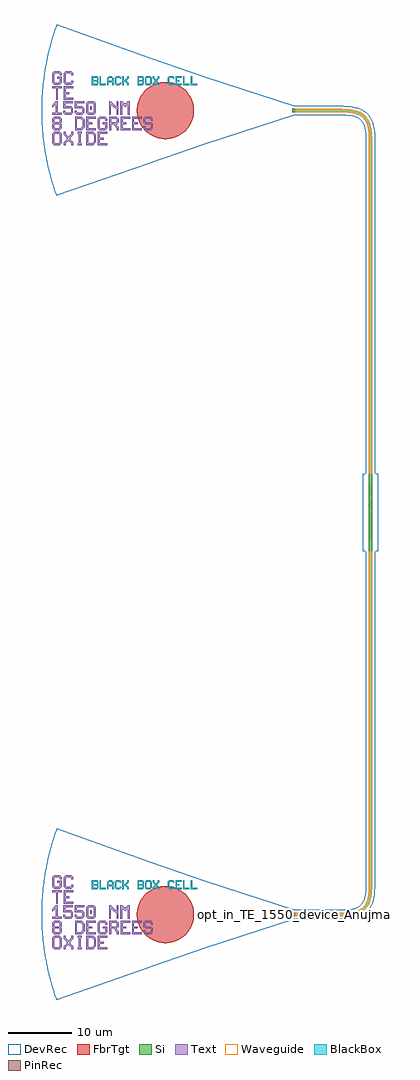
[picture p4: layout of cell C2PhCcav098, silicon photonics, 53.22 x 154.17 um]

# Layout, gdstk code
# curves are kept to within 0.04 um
from math import pi, radians
import gdstk
lib = gdstk.Library(unit=1e-6, precision=1e-09)
def R(c, l, rs):  # rectangles x0, y0, x1, y1
    for r in rs: c.add(gdstk.rectangle(r[:2], r[2:], *l))
def P(c, l, *ps):  # polygons
    for p in ps: c.add(gdstk.Polygon(p, *l))
Si = (1, 0)
PinRec = (1, 10)
Waveguide = (1, 99)
Text = (10, 0)
DevRec = (68, 0)
FbrTgt = (81, 0)
BlackBox = (998, 0)

nanobeam_cav_r110nm_ac34 = lib.new_cell('nanobeam_cav_r110nm_ac345nm_am380nm_m2_s098')
P(nanobeam_cav_r110nm_ac34, Si, [(-6.13,-0.25),(-6.13,0.11),(-4.02,0.11),(-4.098,0.078),(-4.13,0.011),(-4.098,-0.078),(-4.02,-0.11),(-3.942,-0.078),(-3.91,0),(-3.942,0.078),(-4.02,0.11),(-3.648,0.11),(-3.726,0.078),(-3.758,0),(-3.726,-0.078),(-3.648,-0.11),(-3.57,-0.078),(-3.538,-0.011),(-3.57,0.078),(-3.648,0.11),(-3.282,0.11),(-3.36,0.078),(-3.392,0),(-3.36,-0.078),(-3.282,-0.11),(-3.204,-0.078),(-3.172,-0.011),(-3.204,0.078),(-3.282,0.11),(-2.922,0.11),(-3,0.078),(-3.032,0),(-3,-0.078),(-2.922,-0.11),(-2.844,-0.078),(-2.812,-0.011),(-2.844,0.078),(-2.922,0.11),(-2.567,0.11),(-2.645,0.078),(-2.677,0),(-2.645,-0.078),(-2.567,-0.11),(-2.489,-0.078),(-2.457,-0.011),(-2.489,0.078),(-2.567,0.11),(-2.217,0.11),(-2.294,0.078),(-2.327,0),(-2.302,-0.07),(-2.217,-0.11),(-2.139,-0.078),(-2.107,-0.011),(-2.131,0.07),(-2.217,0.11),(-1.87,0.11),(-1.948,0.078),(-1.98,0),(-1.948,-0.078),(-1.87,-0.11),(-1.792,-0.078),(-1.76,-0.011),(-1.792,0.078),(-1.87,0.11),(-1.526,0.11),(-1.604,0.078),(-1.636,0.011),(-1.604,-0.078),(-1.526,-0.11),(-1.448,-0.078),(-1.416,0),(-1.448,0.078),(-1.526,0.11),(-1.185,0.11),(-1.263,0.078),(-1.295,0.011),(-1.263,-0.078),(-1.185,-0.11),(-1.107,-0.078),(-1.075,0),(-1.107,0.078),(-1.185,0.11),(-0.846,0.11),(-0.923,0.078),(-0.956,0),(-0.931,-0.07),(-0.846,-0.11),(-0.768,-0.078),(-0.736,-0.011),(-0.768,0.078),(-0.846,0.11),(-0.507,0.11),(-0.585,0.078),(-0.617,0.011),(-0.585,-0.078),(-0.507,-0.11),(-0.429,-0.078),(-0.397,0),(-0.429,0.078),(-0.507,0.11),(-0.169,0.11),(-0.247,0.078),(-0.279,0.011),(-0.247,-0.078),(-0.169,-0.11),(-0.091,-0.078),(-0.059,0),(-0.091,0.078),(-0.169,0.11),(0.169,0.11),(0.091,0.078),(0.059,0),(0.091,-0.078),(0.169,-0.11),(0.247,-0.078),(0.279,-0.011),(0.247,0.078),(0.169,0.11),(0.507,0.11),(0.429,0.078),(0.397,0),(0.429,-0.078),(0.507,-0.11),(0.585,-0.078),(0.617,-0.011),(0.585,0.078),(0.507,0.11),(0.846,0.11),(0.768,0.078),(0.736,0.011),(0.768,-0.078),(0.846,-0.11),(0.923,-0.078),(0.956,0),(0.931,0.07),(0.846,0.11),(1.185,0.11),(1.107,0.078),(1.075,0),(1.107,-0.078),(1.185,-0.11),(1.263,-0.078),(1.295,-0.011),(1.263,0.078),(1.185,0.11),(1.526,0.11),(1.448,0.078),(1.416,0),(1.448,-0.078),(1.526,-0.11),(1.604,-0.078),(1.636,-0.011),(1.604,0.078),(1.526,0.11),(1.87,0.11),(1.792,0.078),(1.76,0.011),(1.792,-0.078),(1.87,-0.11),(1.948,-0.078),(1.98,0),(1.948,0.078),(1.87,0.11),(2.217,0.11),(2.139,0.078),(2.107,0.011),(2.131,-0.07),(2.217,-0.11),(2.294,-0.078),(2.327,0),(2.302,0.07),(2.217,0.11),(2.567,0.11),(2.489,0.078),(2.457,0.011),(2.489,-0.078),(2.567,-0.11),(2.645,-0.078),(2.677,0),(2.645,0.078),(2.567,0.11),(2.922,0.11),(2.844,0.078),(2.812,0.011),(2.844,-0.078),(2.922,-0.11),(3,-0.078),(3.032,0),(3,0.078),(2.922,0.11),(3.282,0.11),(3.204,0.078),(3.172,0.011),(3.19,-0.061),(3.26,-0.108),(3.352,-0.085),(3.39,-0.021),(3.367,0.07),(3.282,0.11),(3.648,0.11),(3.57,0.078),(3.538,0.011),(3.556,-0.061),(3.626,-0.108),(3.718,-0.085),(3.756,-0.021),(3.733,0.07),(3.648,0.11),(4.02,0.11),(3.942,0.078),(3.911,0.011),(3.935,-0.07),(3.999,-0.108),(4.09,-0.085),(4.13,-0.011),(4.098,0.078),(4.02,0.11),(-6.13,0.11),(-6.13,0.25),(6.13,0.25),(6.13,-0.25)])
R(nanobeam_cav_r110nm_ac34, DevRec, [(-6.13,-1.25,6.13,1.25)])
nanobeam_cav_r110nm_ac34.add(gdstk.FlexPath([(-6.12,0),(-6.14,0)], 0.5, ends="flush", simple_path=True, layer=1, datatype=10))  # PinRec
nanobeam_cav_r110nm_ac34.add(gdstk.FlexPath([(6.12,0),(6.14,0)], 0.5, ends="flush", simple_path=True, layer=1, datatype=10))  # PinRec
nanobeam_cav_r110nm_ac34.add(gdstk.Label('opt1', (-6.13,0), layer=1, texttype=10))
nanobeam_cav_r110nm_ac34.add(gdstk.Label('opt2', (6.13,0), layer=1, texttype=10))
nanobeam_cav_r110nm_ac34.add(gdstk.Label('Lumerical_INTERCONNECT_library=Custom/SiEPIC_user', (0,0), layer=68, texttype=0))
nanobeam_cav_r110nm_ac34.add(gdstk.Label('Component=nanobeam_cav_r110nm_ac345nm_am380nm_m2_s098', (0,-0.5), layer=68, texttype=0))
nanobeam_cav_r110nm_ac34.add(gdstk.Label('Spice_param:r=0.110u holes=24', (0,-1), layer=68, texttype=0))

text = lib.new_cell('TEXT')
P(text, BlackBox, [(0,0),(0,1.4),(0.8,1.4),(1,1.2),(0.2,1.2),(0.2,0.8),(0.7,0.8),(0.8,0.9),(0.8,1.1),(0.7,1.2),(1,1.2),(1,0.8),(0.9,0.7),(1,0.6),(0.2,0.6),(0.2,0.2),(0.7,0.2),(0.8,0.3),(0.8,0.5),(0.7,0.6),(1,0.6),(1,0.2),(0.8,0)],
  [(1.2,0),(1.2,1.4),(1.4,1.4),(1.4,0.2),(2.2,0.2),(2.2,0)],
  [(2.4,0),(2.4,1.1),(2.7,1.4),(3.1,1.4),(3.3,1.2),(2.8,1.2),(2.6,1),(2.6,0.7),(3.2,0.7),(3.2,1),(3,1.2),(3.3,1.2),(3.4,1.1),(3.4,0),(3.2,0),(3.2,0.5),(2.6,0.5),(2.6,0)],
  [(3.8,0),(3.6,0.2),(3.6,1.2),(3.8,1.4),(4.4,1.4),(4.6,1.2),(4.6,1),(4.4,1),(4.4,1.1),(4.3,1.2),(3.9,1.2),(3.8,1.1),(3.8,0.3),(3.9,0.2),(4.3,0.2),(4.4,0.3),(4.4,0.4),(4.6,0.4),(4.6,0.2),(4.4,0)],
  [(4.8,0),(4.8,1.4),(5,1.4),(5,0.8),(5.2,0.8),(5.6,1.2),(5.6,1.4),(5.8,1.4),(5.8,1.1),(5.4,0.7),(5.8,0.3),(5.8,0),(5.6,0),(5.6,0.2),(5.2,0.6),(5,0.6),(5,0)],
  [(7.2,0),(7.2,1.4),(8,1.4),(8.2,1.2),(7.4,1.2),(7.4,0.8),(7.9,0.8),(8,0.9),(8,1.1),(7.9,1.2),(8.2,1.2),(8.2,0.8),(8.1,0.7),(8.2,0.6),(7.4,0.6),(7.4,0.2),(7.9,0.2),(8,0.3),(8,0.5),(7.9,0.6),(8.2,0.6),(8.2,0.2),(8,0)],
  [(8.6,0),(8.4,0.2),(8.4,1.2),(8.6,1.4),(9.2,1.4),(9.4,1.2),(9.4,0.7),(9.2,0.7),(9.2,1.1),(9.1,1.2),(8.7,1.2),(8.6,1.1),(8.6,0.3),(8.7,0.2),(9.1,0.2),(9.2,0.3),(9.2,0.7),(9.4,0.7),(9.4,0.2),(9.2,0)],
  [(9.6,0),(9.6,0.3),(9.9,0.6),(9.9,0.8),(9.6,1.1),(9.6,1.4),(9.8,1.4),(9.8,1.2),(10.1,0.9),(10.4,1.2),(10.4,1.4),(10.6,1.4),(10.6,1.1),(10.3,0.8),(10.3,0.6),(10.6,0.3),(10.6,0),(10.4,0),(10.4,0.2),(10.1,0.5),(9.8,0.2),(9.8,0)],
  [(12.2,0),(12,0.2),(12,1.2),(12.2,1.4),(12.8,1.4),(13,1.2),(13,1),(12.8,1),(12.8,1.1),(12.7,1.2),(12.3,1.2),(12.2,1.1),(12.2,0.3),(12.3,0.2),(12.7,0.2),(12.8,0.3),(12.8,0.4),(13,0.4),(13,0.2),(12.8,0)],
  [(13.2,0),(13.2,1.4),(14.2,1.4),(14.2,1.2),(13.4,1.2),(13.4,0.8),(13.8,0.8),(13.8,0.6),(13.4,0.6),(13.4,0.2),(14.2,0.2),(14.2,0)],
  [(14.4,0),(14.4,1.4),(14.6,1.4),(14.6,0.2),(15.4,0.2),(15.4,0)],
  [(15.6,0),(15.6,1.4),(15.8,1.4),(15.8,0.2),(16.6,0.2),(16.6,0)])

gc_te_1550_8degoxide_bb = lib.new_cell('GC_TE_1550_8degOxide_BB')
R(gc_te_1550_8degoxide_bb, Si, [(-0.4,-0.25,0,0.25)])
R(gc_te_1550_8degoxide_bb, Text, [(-32.313,0.092,-32.013,0.692)])
P(gc_te_1550_8degoxide_bb, Text, [(-37.67,1.71),(-37.67,3.51),(-38.27,3.51),(-38.27,3.81),(-36.77,3.81),(-36.77,3.51),(-37.37,3.51),(-37.37,1.71)],
  [(-37.97,-5.49),(-38.27,-5.19),(-38.27,-3.69),(-37.97,-3.39),(-37.07,-3.39),(-36.77,-3.69),(-36.77,-4.44),(-37.07,-4.44),(-37.07,-3.84),(-37.22,-3.69),(-37.82,-3.69),(-37.97,-3.84),(-37.97,-5.04),(-37.82,-5.19),(-37.22,-5.19),(-37.07,-5.04),(-37.07,-4.44),(-36.77,-4.44),(-36.77,-5.19),(-37.07,-5.49)],
  [(-31.07,-5.49),(-31.07,-3.39),(-29.57,-3.39),(-29.57,-3.69),(-30.77,-3.69),(-30.77,-4.29),(-30.17,-4.29),(-30.17,-4.59),(-30.77,-4.59),(-30.77,-5.19),(-29.57,-5.19),(-29.57,-5.49)],
  [(-32.87,-3.09),(-32.87,-0.99),(-31.37,-0.99),(-31.37,-1.29),(-32.57,-1.29),(-32.57,-1.89),(-31.97,-1.89),(-31.97,-2.19),(-32.57,-2.19),(-32.57,-2.79),(-31.37,-2.79),(-31.37,-3.09)],
  [(-27.47,-3.09),(-27.47,-0.99),(-25.97,-0.99),(-25.97,-1.29),(-27.17,-1.29),(-27.17,-1.89),(-26.57,-1.89),(-26.57,-2.19),(-27.17,-2.19),(-27.17,-2.79),(-25.97,-2.79),(-25.97,-3.09)],
  [(-25.67,-3.09),(-25.67,-0.99),(-24.17,-0.99),(-24.17,-1.29),(-25.37,-1.29),(-25.37,-1.89),(-24.77,-1.89),(-24.77,-2.19),(-25.37,-2.19),(-25.37,-2.79),(-24.17,-2.79),(-24.17,-3.09)],
  [(-36.47,1.71),(-36.47,3.81),(-34.97,3.81),(-34.97,3.51),(-36.17,3.51),(-36.17,2.91),(-35.57,2.91),(-35.57,2.61),(-36.17,2.61),(-36.17,2.01),(-34.97,2.01),(-34.97,1.71)],
  [(-29.313,-0.658),(-29.313,1.442),(-29.013,1.442),(-28.263,0.692),(-28.113,0.692),(-28.113,1.442),(-27.813,1.442),(-27.813,-0.658),(-28.113,-0.658),(-28.113,0.092),(-28.863,0.842),(-29.013,0.842),(-29.013,-0.658)],
  [(-34.22,-5.49),(-34.22,-5.19),(-34.07,-5.19),(-34.07,-3.69),(-34.22,-3.69),(-34.22,-3.39),(-33.62,-3.39),(-33.62,-3.69),(-33.77,-3.69),(-33.77,-5.19),(-33.62,-5.19),(-33.62,-5.49)],
  [(-36.17,4.11),(-36.47,4.41),(-36.47,5.91),(-36.17,6.21),(-35.27,6.21),(-34.97,5.91),(-34.97,5.61),(-35.27,5.61),(-35.27,5.76),(-35.42,5.91),(-36.02,5.91),(-36.17,5.76),(-36.17,4.56),(-36.02,4.41),(-35.42,4.41),(-35.27,4.56),(-35.27,4.71),(-34.97,4.71),(-34.97,4.41),(-35.27,4.11)],
  [(-27.513,-0.658),(-27.513,1.442),(-27.213,1.442),(-26.913,1.142),(-26.613,1.142),(-26.313,1.442),(-26.013,1.442),(-26.013,-0.658),(-26.313,-0.658),(-26.313,0.842),(-26.463,0.842),(-26.763,0.542),(-27.063,0.842),(-27.213,0.842),(-27.213,-0.658)],
  [(-32.613,-0.658),(-32.913,-0.358),(-32.913,1.142),(-32.613,1.442),(-31.713,1.442),(-31.413,1.142),(-32.463,1.142),(-32.613,0.992),(-32.613,-0.208),(-32.463,-0.358),(-31.863,-0.358),(-31.713,-0.208),(-31.713,0.992),(-31.863,1.142),(-31.413,1.142),(-31.413,-0.358),(-31.713,-0.658)],
  [(-32.87,-5.49),(-32.87,-3.39),(-31.82,-3.39),(-31.52,-3.69),(-32.57,-3.69),(-32.57,-5.19),(-31.97,-5.19),(-31.67,-4.89),(-31.67,-3.99),(-31.97,-3.69),(-31.52,-3.69),(-31.37,-3.84),(-31.37,-5.04),(-31.82,-5.49)],
  [(-34.67,-3.09),(-34.67,-0.99),(-33.62,-0.99),(-33.32,-1.29),(-34.37,-1.29),(-34.37,-2.79),(-33.77,-2.79),(-33.47,-2.49),(-33.47,-1.59),(-33.77,-1.29),(-33.32,-1.29),(-33.17,-1.44),(-33.17,-2.64),(-33.62,-3.09)],
  [(-23.57,-3.09),(-23.87,-2.79),(-23.87,-2.49),(-23.57,-2.49),(-23.57,-2.64),(-23.42,-2.79),(-22.82,-2.79),(-22.67,-2.64),(-22.67,-2.34),(-22.82,-2.19),(-23.57,-2.19),(-23.87,-1.89),(-23.87,-1.29),(-23.57,-0.99),(-22.67,-0.99),(-22.37,-1.29),(-22.37,-1.59),(-22.67,-1.59),(-22.67,-1.44),(-22.82,-1.29),(-23.42,-1.29),(-23.57,-1.44),(-23.57,-1.74),(-23.42,-1.89),(-22.67,-1.89),(-22.37,-2.19),(-22.37,-2.79),(-22.67,-3.09)],
  [(-36.213,-0.658),(-36.513,-0.358),(-36.513,-0.058),(-36.213,-0.058),(-36.213,-0.208),(-36.063,-0.358),(-35.463,-0.358),(-35.313,-0.208),(-35.313,0.242),(-35.463,0.392),(-36.513,0.392),(-36.513,1.442),(-35.013,1.442),(-35.013,1.142),(-36.213,1.142),(-36.213,0.692),(-35.313,0.692),(-35.013,0.392),(-35.013,-0.358),(-35.313,-0.658)],
  [(-34.413,-0.658),(-34.713,-0.358),(-34.713,-0.058),(-34.413,-0.058),(-34.413,-0.208),(-34.263,-0.358),(-33.663,-0.358),(-33.513,-0.208),(-33.513,0.242),(-33.663,0.392),(-34.713,0.392),(-34.713,1.442),(-33.213,1.442),(-33.213,1.142),(-34.413,1.142),(-34.413,0.692),(-33.513,0.692),(-33.213,0.392),(-33.213,-0.358),(-33.513,-0.658)],
  [(-37.97,-3.09),(-38.27,-2.79),(-38.27,-2.19),(-38.12,-2.04),(-38.27,-1.89),(-38.27,-1.29),(-37.97,-0.99),(-37.07,-0.99),(-36.77,-1.29),(-37.82,-1.29),(-37.97,-1.44),(-37.97,-1.74),(-37.82,-1.89),(-37.22,-1.89),(-37.07,-1.74),(-37.07,-1.44),(-37.22,-1.29),(-36.77,-1.29),(-36.77,-1.89),(-36.92,-2.04),(-36.77,-2.19),(-37.82,-2.19),(-37.97,-2.34),(-37.97,-2.64),(-37.82,-2.79),(-37.22,-2.79),(-37.07,-2.64),(-37.07,-2.34),(-37.22,-2.19),(-36.77,-2.19),(-36.77,-2.79),(-37.07,-3.09)],
  [(-38.313,-0.658),(-38.313,-0.358),(-37.713,-0.358),(-37.713,0.842),(-37.863,0.842),(-38.163,0.542),(-38.313,0.542),(-38.313,0.842),(-37.713,1.442),(-37.413,1.442),(-37.413,-0.358),(-36.813,-0.358),(-36.813,-0.658)],
  [(-36.47,-5.49),(-36.47,-5.04),(-36.02,-4.59),(-36.02,-4.29),(-36.47,-3.84),(-36.47,-3.39),(-36.17,-3.39),(-36.17,-3.69),(-35.72,-4.14),(-35.27,-3.69),(-35.27,-3.39),(-34.97,-3.39),(-34.97,-3.84),(-35.42,-4.29),(-35.42,-4.59),(-34.97,-5.04),(-34.97,-5.49),(-35.27,-5.49),(-35.27,-5.19),(-35.72,-4.74),(-36.17,-5.19),(-36.17,-5.49)],
  [(-30.77,-3.09),(-31.07,-2.79),(-31.07,-1.29),(-30.77,-0.99),(-29.87,-0.99),(-29.57,-1.29),(-29.57,-1.59),(-29.87,-1.59),(-29.87,-1.44),(-30.02,-1.29),(-30.62,-1.29),(-30.77,-1.44),(-30.77,-2.64),(-30.62,-2.79),(-30.02,-2.79),(-29.87,-2.64),(-29.87,-2.19),(-30.32,-2.19),(-30.32,-1.89),(-29.57,-1.89),(-29.57,-2.79),(-29.87,-3.09)],
  [(-37.97,4.11),(-38.27,4.41),(-38.27,5.91),(-37.97,6.21),(-37.07,6.21),(-36.77,5.91),(-36.77,5.61),(-37.07,5.61),(-37.07,5.76),(-37.22,5.91),(-37.82,5.91),(-37.97,5.76),(-37.97,4.56),(-37.82,4.41),(-37.22,4.41),(-37.07,4.56),(-37.07,5.01),(-37.52,5.01),(-37.52,5.31),(-36.77,5.31),(-36.77,4.41),(-37.07,4.11)],
  [(-29.27,-3.09),(-29.27,-0.99),(-28.07,-0.99),(-27.77,-1.29),(-28.97,-1.29),(-28.97,-1.89),(-28.22,-1.89),(-28.07,-1.74),(-28.07,-1.44),(-28.22,-1.29),(-27.77,-1.29),(-27.77,-1.89),(-28.07,-2.19),(-28.07,-2.34),(-27.77,-2.64),(-27.77,-3.09),(-28.07,-3.09),(-28.07,-2.79),(-28.67,-2.19),(-28.97,-2.19),(-28.97,-3.09)])
P(gc_te_1550_8degoxide_bb, DevRec, [(-37.607,-13.5),(-38.627,-10.245),(-39.378,-6.832),(-39.647,-5.058),(-39.835,-3.274),(-39.969,0.224),(-39.812,3.541),(-39.331,7.097),(-38.557,10.505),(-37.546,13.669),(-22.8,8.353),(-14.109,5.36),(0,0.75),(0,-0.75),(-14.109,-5.36)])
P(gc_te_1550_8degoxide_bb, FbrTgt, [(-20.621,-4.5),(-21.495,-4.37),(-22.326,-4.073),(-23.084,-3.619),(-23.738,-3.026),(-24.264,-2.316),(-24.642,-1.518),(-24.857,-0.661),(-24.9,0.221),(-24.77,1.095),(-24.473,1.926),(-24.019,2.684),(-23.426,3.338),(-22.716,3.864),(-21.918,4.242),(-21.061,4.457),(-20.179,4.5),(-19.305,4.37),(-18.474,4.073),(-17.716,3.619),(-17.062,3.026),(-16.536,2.316),(-16.158,1.518),(-15.943,0.661),(-15.9,-0.221),(-16.03,-1.095),(-16.327,-1.926),(-16.781,-2.684),(-17.374,-3.338),(-18.084,-3.864),(-18.882,-4.242),(-19.739,-4.457)])
gc_te_1550_8degoxide_bb.add(gdstk.FlexPath([(-0.01,0),(0.01,0)], 0.5, ends="flush", simple_path=True, layer=1, datatype=10))  # PinRec
gc_te_1550_8degoxide_bb.add(gdstk.Reference(text, (-32,4)))
gc_te_1550_8degoxide_bb.add(gdstk.Label('opt1', (0,0), layer=1, texttype=10))
gc_te_1550_8degoxide_bb.add(gdstk.Label('Lumerical_INTERCONNECT_library=Design kits/ebeam', (-29,-7), layer=68, texttype=0))
gc_te_1550_8degoxide_bb.add(gdstk.Label('Component=GC_TE_1550_8degOxide_BB', (-28,-5), layer=68, texttype=0))

waveguide_50 = lib.new_cell('Waveguide$50')
P(waveguide_50, Si, [(489,253.75),(489,254.25),(496.427,254.254),(497.559,254.321),(498.479,254.478),(499.303,254.79),(499.896,255.253),(500.313,255.906),(500.554,256.658),(500.711,257.793),(500.75,259),(500.75,311.37),(501.25,311.37),(501.25,259),(501.194,257.568),(501.042,256.55),(500.71,255.577),(500.177,254.823),(499.422,254.289),(498.449,253.957),(497.613,253.823),(496.437,253.754)])
P(waveguide_50, Waveguide, [(489,253.75),(489,254.25),(496.427,254.254),(497.559,254.321),(498.479,254.478),(499.303,254.79),(499.896,255.253),(500.313,255.906),(500.554,256.658),(500.711,257.793),(500.75,259),(500.75,311.37),(501.25,311.37),(501.25,259),(501.194,257.568),(501.042,256.55),(500.71,255.577),(500.177,254.823),(499.422,254.289),(498.449,253.957),(497.613,253.823),(496.437,253.754)])
P(waveguide_50, DevRec, [(489,253.25),(489,254.75),(496.649,254.76),(498.193,254.925),(498.895,255.145),(499.375,255.442),(499.557,255.624),(499.854,256.104),(500.074,256.806),(500.207,257.769),(500.25,259),(500.25,311.37),(501.75,311.37),(501.75,259),(501.703,257.649),(501.54,256.49),(501.222,255.49),(500.697,254.65),(499.95,254.011),(499.509,253.777),(498.509,253.459),(496.701,253.26)])
waveguide_50.add(gdstk.FlexPath([(489.01,254),(488.99,254)], 0.5, ends="flush", simple_path=True, layer=1, datatype=10))  # PinRec
waveguide_50.add(gdstk.FlexPath([(501,311.36),(501,311.38)], 0.5, ends="flush", simple_path=True, layer=1, datatype=10))  # PinRec
waveguide_50.add(gdstk.Label('opt1', (489,254), layer=1, texttype=10))
waveguide_50.add(gdstk.Label('opt2', (501,311.37), layer=1, texttype=10))
waveguide_50.add(gdstk.Label('Lumerical_INTERCONNECT_library=Design kits/EBeam', (489,253.9), layer=68, texttype=0))
waveguide_50.add(gdstk.Label('Component=ebeam_wg_integral_1550', (489,254.1), layer=68, texttype=0))
waveguide_50.add(gdstk.Label('cellName=Waveguide', (489,254.2), layer=68, texttype=0))
waveguide_50.add(gdstk.Label('Spice_param:wg_length=0.000067818 wg_width=5e-07 points="[[489.0,254.0],[501.0,254.0],[501.0,311.37]]" radius=5e-06', (489,254), layer=68, texttype=0))
waveguide_50.add(gdstk.Label('Length=67.818 (microns)', (489,253.4), layer=68, texttype=0))
waveguide_50.add(gdstk.Label('waveguide_type=Strip TE 1550 nm, w=500 nm', (489,253.8), layer=68, texttype=0))

waveguide_51 = lib.new_cell('Waveguide$51')
P(waveguide_51, Si, [(500.75,323.63),(500.75,376),(500.712,377.206),(500.585,378.196),(500.314,379.093),(499.897,379.746),(499.304,380.209),(498.48,380.521),(497.56,380.678),(496.428,380.745),(489,380.75),(489,381.25),(496.438,381.245),(497.614,381.176),(498.45,381.042),(499.423,380.71),(500.177,380.177),(500.711,379.422),(501.043,378.449),(501.195,377.431),(501.25,376),(501.25,323.63)])
P(waveguide_51, Waveguide, [(500.75,323.63),(500.75,376),(500.712,377.206),(500.585,378.196),(500.314,379.093),(499.897,379.746),(499.304,380.209),(498.48,380.521),(497.56,380.678),(496.428,380.745),(489,380.75),(489,381.25),(496.438,381.245),(497.614,381.176),(498.45,381.042),(499.423,380.71),(500.177,380.177),(500.711,379.422),(501.043,378.449),(501.195,377.431),(501.25,376),(501.25,323.63)])
P(waveguide_51, DevRec, [(500.25,323.63),(500.25,376),(500.208,377.23),(500.075,378.193),(499.855,378.895),(499.558,379.375),(499.376,379.557),(498.896,379.854),(498.194,380.074),(496.65,380.239),(489,380.25),(489,381.75),(496.702,381.739),(498.51,381.54),(499.51,381.222),(500.35,380.697),(500.989,379.95),(501.223,379.509),(501.541,378.509),(501.704,377.35),(501.75,376),(501.75,323.63)])
waveguide_51.add(gdstk.FlexPath([(501,323.64),(501,323.62)], 0.5, ends="flush", simple_path=True, layer=1, datatype=10))  # PinRec
waveguide_51.add(gdstk.FlexPath([(489.01,381),(488.99,381)], 0.5, ends="flush", simple_path=True, layer=1, datatype=10))  # PinRec
waveguide_51.add(gdstk.Label('opt1', (501,323.63), layer=1, texttype=10))
waveguide_51.add(gdstk.Label('opt2', (489,381), layer=1, texttype=10))
waveguide_51.add(gdstk.Label('Lumerical_INTERCONNECT_library=Design kits/EBeam', (500.9,323.63), layer=68, texttype=0))
waveguide_51.add(gdstk.Label('Component=ebeam_wg_integral_1550', (501.1,323.63), layer=68, texttype=0))
waveguide_51.add(gdstk.Label('cellName=Waveguide', (501.2,323.63), layer=68, texttype=0))
waveguide_51.add(gdstk.Label('Spice_param:wg_length=0.000067818 wg_width=5e-07 points="[[501.0,323.63],[501.0,381.0],[489.0,381.0]]" radius=5e-06', (501,323.63), layer=68, texttype=0))
waveguide_51.add(gdstk.Label('Length=67.818 (microns)', (500.4,323.63), layer=68, texttype=0))
waveguide_51.add(gdstk.Label('waveguide_type=Strip TE 1550 nm, w=500 nm', (500.8,323.63), layer=68, texttype=0))

c2phccav098 = lib.new_cell('C2PhCcav098')
c2phccav098.add(gdstk.Reference(nanobeam_cav_r110nm_ac34, (501,317.5), rotation=pi/2))
c2phccav098.add(gdstk.Reference(gc_te_1550_8degoxide_bb, (489,254)))
c2phccav098.add(gdstk.Reference(gc_te_1550_8degoxide_bb, (489,381)))
c2phccav098.add(gdstk.Reference(waveguide_50, (0,0)))
c2phccav098.add(gdstk.Reference(waveguide_51, (0,0)))
c2phccav098.add(gdstk.Label('opt_in_TE_1550_device_Anujmaverick_C2PhCcav098', (489,254), layer=10, texttype=0))

lib.write_gds('C2PhCcav098.gds')
